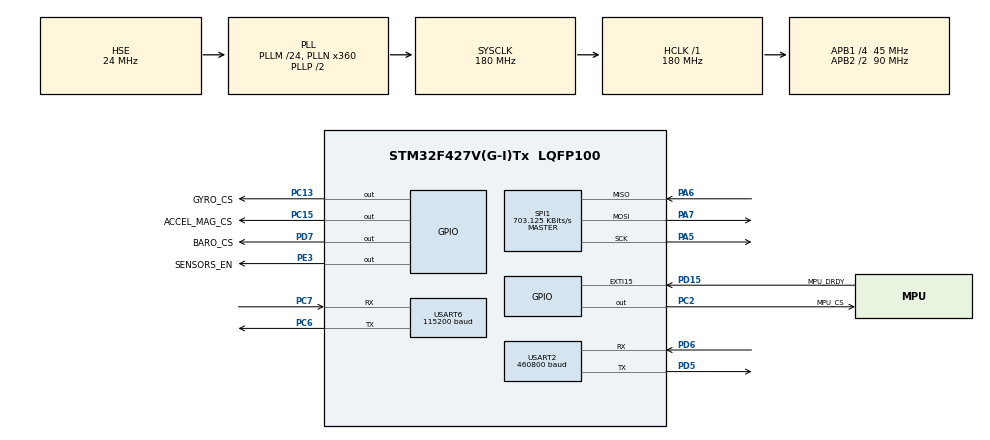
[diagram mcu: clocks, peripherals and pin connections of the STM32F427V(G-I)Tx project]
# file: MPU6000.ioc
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Dma.Request0=SPI1_RX
Dma.Request1=SPI1_TX
Dma.Request2=USART2_TX
Dma.SPI1_RX.0.Direction=DMA_PERIPH_TO_MEMORY
Dma.SPI1_RX.0.FIFOMode=DMA_FIFOMODE_DISABLE
Dma.SPI1_RX.0.Instance=DMA2_Stream0
Dma.SPI1_RX.0.MemDataAlignment=DMA_MDATAALIGN_BYTE
Dma.SPI1_RX.0.MemInc=DMA_MINC_ENABLE
Dma.SPI1_RX.0.Mode=DMA_NORMAL
Dma.SPI1_RX.0.PeriphDataAlignment=DMA_PDATAALIGN_BYTE
Dma.SPI1_RX.0.PeriphInc=DMA_PINC_DISABLE
Dma.SPI1_RX.0.Priority=DMA_PRIORITY_VERY_HIGH
Dma.SPI1_TX.1.Direction=DMA_MEMORY_TO_PERIPH
Dma.SPI1_TX.1.FIFOMode=DMA_FIFOMODE_DISABLE
Dma.SPI1_TX.1.Instance=DMA2_Stream3
Dma.SPI1_TX.1.MemDataAlignment=DMA_MDATAALIGN_BYTE
Dma.SPI1_TX.1.MemInc=DMA_MINC_ENABLE
Dma.SPI1_TX.1.Mode=DMA_NORMAL
Dma.SPI1_TX.1.PeriphDataAlignment=DMA_PDATAALIGN_BYTE
Dma.SPI1_TX.1.PeriphInc=DMA_PINC_DISABLE
Dma.SPI1_TX.1.Priority=DMA_PRIORITY_HIGH
Dma.USART2_TX.2.Direction=DMA_MEMORY_TO_PERIPH
Dma.USART2_TX.2.FIFOMode=DMA_FIFOMODE_DISABLE
Dma.USART2_TX.2.Instance=DMA1_Stream6
Dma.USART2_TX.2.MemDataAlignment=DMA_MDATAALIGN_BYTE
Dma.USART2_TX.2.MemInc=DMA_MINC_ENABLE
Dma.USART2_TX.2.Mode=DMA_NORMAL
Dma.USART2_TX.2.PeriphDataAlignment=DMA_PDATAALIGN_BYTE
Dma.USART2_TX.2.PeriphInc=DMA_PINC_DISABLE
Dma.USART2_TX.2.Priority=DMA_PRIORITY_LOW
Mcu.Family=STM32F4
Mcu.Name=STM32F427V(G-I)Tx
Mcu.Package=LQFP100
NVIC.DMA1_Stream6_IRQn=true\:8\:0\:true\:false\:true\:false\:true\:true
NVIC.DMA2_Stream0_IRQn=true\:5\:0\:true\:false\:true\:false\:true\:true
NVIC.DMA2_Stream3_IRQn=true\:5\:0\:true\:false\:true\:false\:true\:true
NVIC.EXTI15_10_IRQn=true\:5\:0\:true\:false\:true\:true\:true\:true
NVIC.PriorityGroup=NVIC_PRIORITYGROUP_4
NVIC.SPI1_IRQn=true\:5\:0\:true\:false\:true\:true\:true\:true
NVIC.TIM2_IRQn=false\:0\:0\:false\:false\:true\:true\:true\:true
NVIC.USART2_IRQn=true\:8\:0\:true\:false\:true\:false\:true\:true
NVIC.USART6_IRQn=true\:8\:0\:true\:false\:true\:true\:true\:true
PA13.Mode=Serial_Wire
PA13.Signal=SYS_JTMS-SWDIO
PA14.Mode=Serial_Wire
PA14.Signal=SYS_JTCK-SWCLK
PA5.GPIO_Speed=GPIO_SPEED_FREQ_HIGH
PA5.Mode=Full_Duplex_Master
PA5.Signal=SPI1_SCK
PA6.GPIO_Speed=GPIO_SPEED_FREQ_HIGH
PA6.Mode=Full_Duplex_Master
PA6.Signal=SPI1_MISO
PA7.GPIO_Speed=GPIO_SPEED_FREQ_HIGH
PA7.Mode=Full_Duplex_Master
PA7.Signal=SPI1_MOSI
PC13.GPIO_Label=GYRO_CS
PC13.GPIO_ModeDefaultOutputPP=GPIO_MODE_OUTPUT_PP
PC13.GPIO_PuPd=GPIO_NOPULL
PC13.PinState=GPIO_PIN_SET
PC13.Signal=GPIO_Output
PC15/OSC32_OUT.GPIO_Label=ACCEL_MAG_CS
PC15/OSC32_OUT.GPIO_ModeDefaultOutputPP=GPIO_MODE_OUTPUT_PP
PC15/OSC32_OUT.GPIO_PuPd=GPIO_NOPULL
PC15/OSC32_OUT.PinState=GPIO_PIN_SET
PC15/OSC32_OUT.Signal=GPIO_Output
PC2.GPIO_Label=MPU_CS
PC2.GPIO_ModeDefaultOutputPP=GPIO_MODE_OUTPUT_PP
PC2.GPIO_PuPd=GPIO_NOPULL
PC2.PinState=GPIO_PIN_SET
PC2.Signal=GPIO_Output
PC6.Mode=Asynchronous
PC6.Signal=USART6_TX
PC7.Mode=Asynchronous
PC7.Signal=USART6_RX
PD15.GPIO_Label=MPU_DRDY
PD15.GPIO_PuPd=GPIO_NOPULL
PD15.Signal=GPXTI15
PD5.Mode=Asynchronous
PD5.Signal=USART2_TX
PD6.Mode=Asynchronous
PD6.Signal=USART2_RX
PD7.GPIO_Label=BARO_CS
PD7.GPIO_ModeDefaultOutputPP=GPIO_MODE_OUTPUT_PP
PD7.GPIO_PuPd=GPIO_NOPULL
PD7.PinState=GPIO_PIN_SET
PD7.Signal=GPIO_Output
PE3.GPIO_Label=SENSORS_EN
PE3.GPIO_ModeDefaultOutputPP=GPIO_MODE_OUTPUT_PP
PE3.GPIO_PuPd=GPIO_NOPULL
PE3.PinState=GPIO_PIN_SET
PE3.Signal=GPIO_Output
PH0/OSC_IN.Mode=HSE-External-Oscillator
PH0/OSC_IN.Signal=RCC_OSC_IN
PH1/OSC_OUT.Mode=HSE-External-Oscillator
PH1/OSC_OUT.Signal=RCC_OSC_OUT
ProjectManager.HeapSize=0x200
ProjectManager.StackSize=0x1000
ProjectManager.TargetToolchain=MDK-ARM V5.32
RCC.48MHZClocksFreq_Value=45000000
RCC.AHBFreq_Value=180000000
RCC.APB1CLKDivider=RCC_HCLK_DIV4
RCC.APB1Freq_Value=45000000
RCC.APB1TimFreq_Value=90000000
RCC.APB2CLKDivider=RCC_HCLK_DIV2
RCC.APB2Freq_Value=90000000
RCC.APB2TimFreq_Value=180000000
RCC.CortexFreq_Value=180000000
RCC.HCLKFreq_Value=180000000
RCC.HSE_VALUE=24000000
RCC.HSI_VALUE=16000000
RCC.LSE_VALUE=32768
RCC.PLLM=24
RCC.PLLN=360
RCC.PLLQ=8
RCC.PLLSourceVirtual=RCC_PLLSOURCE_HSE
RCC.SYSCLKFreq_VALUE=180000000
RCC.SYSCLKSource=RCC_SYSCLKSOURCE_PLLCLK
RCC.VCOOutputFreq_Value=360000000
SPI1.BaudRatePrescaler=SPI_BAUDRATEPRESCALER_128
SPI1.CLKPhase=SPI_PHASE_2EDGE
SPI1.CLKPolarity=SPI_POLARITY_HIGH
SPI1.CalculateBaudRate=703.125 KBits/s
SPI1.Direction=SPI_DIRECTION_2LINES
SPI1.Mode=SPI_MODE_MASTER
SPI1.VirtualType=VM_MASTER
TIM2.Prescaler=89
USART2.BaudRate=460800
USART2.VirtualMode=VM_ASYNC
USART6.BaudRate=115200
USART6.VirtualMode=VM_ASYNC
VP_TIM2_VS_ClockSourceINT.Mode=Internal
board=custom

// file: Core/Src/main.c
/* USER CODE BEGIN Header */
/**
  ******************************************************************************
  * @file           : main.c
  * @brief          : Main program body
  ******************************************************************************
  * @attention
  *
  * Copyright (c) 2026 STMicroelectronics.
  * All rights reserved.
  *
  * This software is licensed under terms that can be found in the LICENSE file
  * in the root directory of this software component.
  * If no LICENSE file comes with this software, it is provided AS-IS.
  *
  ******************************************************************************
  */
/* USER CODE END Header */
#include "main.h"
#include "dma.h"
#include "spi.h"
#include "tim.h"
#include "usart.h"
#include "gpio.h"

/* USER CODE BEGIN Includes */
#include "flight_imu_app.h"
#include "board_link_app.h"
#include "board_link_telem.h"
#include "actuator_client.h"
/* USER CODE END Includes */

void SystemClock_Config(void);

/* USER CODE BEGIN 0 */
static void FlightLink_OnMessage(const bl_message_t *message)
{
  ActuatorClient_OnMessage(message);
  BoardLinkTelem_OnMessage(message);
}

/* USER CODE END 0 */

int main(void)
{

  /* USER CODE BEGIN 1 */
  g_app_boot_stage = 1U;
  /* USER CODE END 1 */

  /* MCU Configuration--------------------------------------------------------*/

  /* Reset of all peripherals, Initializes the Flash interface and the Systick. */
  HAL_Init();

  /* USER CODE BEGIN Init */
  g_app_boot_stage = 2U;
  /* USER CODE END Init */

  /* Configure the system clock */
  SystemClock_Config();

  /* USER CODE BEGIN SysInit */
  g_app_boot_stage = 3U;
  /* USER CODE END SysInit */

  /* Initialize all configured peripherals */
  MX_GPIO_Init();
  MX_DMA_Init();
  MX_SPI1_Init();
  MX_USART2_UART_Init();
  MX_TIM2_Init();
  MX_USART6_UART_Init();
  /* USER CODE BEGIN 2 */
  g_app_boot_stage = 4U;
  /* Sensor startup includes a 100 ms rail wait. Arm the link RX ring only
     afterwards so concurrent 20 Hz RC + actuator status cannot overflow it. */
  FlightImuApp_Init();
  BoardLink_Init(&huart6, BL_NODE_F4);
  BoardLinkApp_Init();
  BoardLinkTelem_Init();
  ActuatorClient_Init();
  BoardLinkApp_SetMessageHandler(FlightLink_OnMessage);
  g_app_boot_stage = 5U;
  /* USER CODE END 2 */

  /* Infinite loop */
  while (1)
  {

    /* USER CODE BEGIN 3 */
    g_app_boot_stage = 6U;
    FlightImuApp_Service();
    BoardLinkApp_Service();
    ActuatorClient_Service();
  }
  /* USER CODE END 3 */
}

void SystemClock_Config(void)
{
  RCC_OscInitTypeDef RCC_OscInitStruct = {0};
  RCC_ClkInitTypeDef RCC_ClkInitStruct = {0};

  /** Configure the main internal regulator output voltage
  */
  __HAL_RCC_PWR_CLK_ENABLE();
  __HAL_PWR_VOLTAGESCALING_CONFIG(PWR_REGULATOR_VOLTAGE_SCALE1);

  /** Initializes the RCC Oscillators according to the specified parameters
  * in the RCC_OscInitTypeDef structure.
  */
  RCC_OscInitStruct.OscillatorType = RCC_OSCILLATORTYPE_HSE;
  RCC_OscInitStruct.HSEState = RCC_HSE_ON;
  RCC_OscInitStruct.PLL.PLLState = RCC_PLL_ON;
  RCC_OscInitStruct.PLL.PLLSource = RCC_PLLSOURCE_HSE;
  RCC_OscInitStruct.PLL.PLLM = 24;
  RCC_OscInitStruct.PLL.PLLN = 360;
  RCC_OscInitStruct.PLL.PLLP = RCC_PLLP_DIV2;
  RCC_OscInitStruct.PLL.PLLQ = 8;
  if (HAL_RCC_OscConfig(&RCC_OscInitStruct) != HAL_OK)
  {
    Error_Handler();
  }

  /** Activate the Over-Drive mode
  */
  if (HAL_PWREx_EnableOverDrive() != HAL_OK)
  {
    Error_Handler();
  }

  /** Initializes the CPU, AHB and APB buses clocks
  */
  RCC_ClkInitStruct.ClockType = RCC_CLOCKTYPE_HCLK|RCC_CLOCKTYPE_SYSCLK
                              |RCC_CLOCKTYPE_PCLK1|RCC_CLOCKTYPE_PCLK2;
  RCC_ClkInitStruct.SYSCLKSource = RCC_SYSCLKSOURCE_PLLCLK;
  RCC_ClkInitStruct.AHBCLKDivider = RCC_SYSCLK_DIV1;
  RCC_ClkInitStruct.APB1CLKDivider = RCC_HCLK_DIV4;
  RCC_ClkInitStruct.APB2CLKDivider = RCC_HCLK_DIV2;

  if (HAL_RCC_ClockConfig(&RCC_ClkInitStruct, FLASH_LATENCY_5) != HAL_OK)
  {
    Error_Handler();
  }
}

void Error_Handler(void)
{
  __disable_irq();
  while (1)
  {
  }
}
